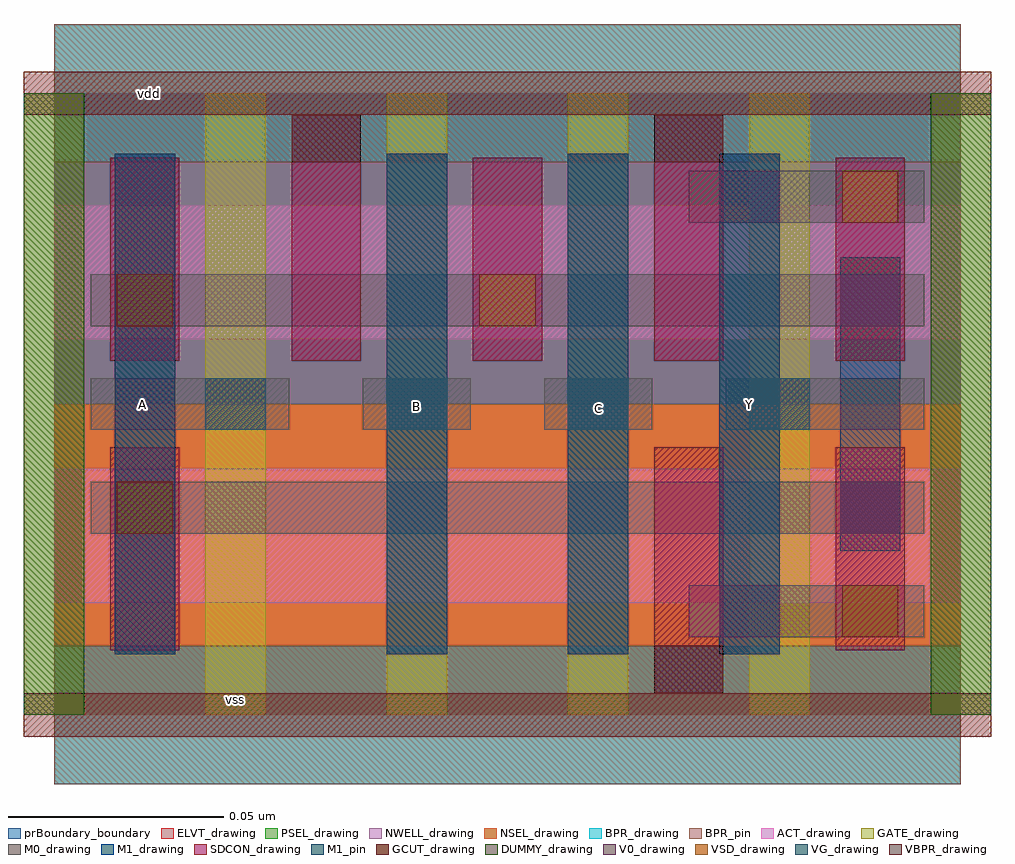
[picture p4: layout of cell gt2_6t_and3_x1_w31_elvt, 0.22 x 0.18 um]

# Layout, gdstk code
import gdstk
lib = gdstk.Library(unit=1e-6, precision=5e-10)
def R(c, l, rs):  # rectangles x0, y0, x1, y1
    for r in rs: c.add(gdstk.rectangle(r[:2], r[2:], *l))
def A(c, l, x, y, w, h, nx, ny, dx, dy):  # array of equal rectangles
    R(c, l, [(x+i*dx, y+j*dy, x+i*dx+w, y+j*dy+h) for i in range(nx) for j in range(ny)])
NWELL_drawing = (1, 0)
ACT_drawing = (2, 0)
GATE_drawing = (3, 0)
DUMMY_drawing = (4, 0)
GCUT_drawing = (5, 0)
NSEL_drawing = (6, 0)
PSEL_drawing = (7, 0)
BPR_drawing = (8, 0)
BPR_pin = (8, 251)
VBPR_drawing = (9, 0)
SDCON_drawing = (10, 0)
VSD_drawing = (11, 0)
VG_drawing = (12, 0)
M0_drawing = (20, 0)
V0_drawing = (22, 0)
M1_drawing = (25, 0)
M1_pin = (25, 251)
ELVT_drawing = (94, 0)
prBoundary_boundary = (235, 250)

gt2_6t_and3_x1_w31_elvt = lib.new_cell('gt2_6t_and3_x1_w31_elvt')
R(gt2_6t_and3_x1_w31_elvt, NWELL_drawing, [(0,0.072,0.21,0.144)])
R(gt2_6t_and3_x1_w31_elvt, ACT_drawing, [(0,0.026,0.21,0.057), (0,0.087,0.21,0.118)])
A(gt2_6t_and3_x1_w31_elvt, GATE_drawing, -0.007, 0, 0.014, 0.144, 6, 1, 0.042, 0)
R(gt2_6t_and3_x1_w31_elvt, DUMMY_drawing, [(-0.007,0,0.007,0.144), (0.203,0,0.217,0.144)])
R(gt2_6t_and3_x1_w31_elvt, GCUT_drawing, [(-0.007,-0.005,0.217,0.005), (-0.007,0.139,0.217,0.149)])
R(gt2_6t_and3_x1_w31_elvt, NSEL_drawing, [(0,0,0.21,0.072)])
R(gt2_6t_and3_x1_w31_elvt, PSEL_drawing, [(0,0.072,0.21,0.144)])
R(gt2_6t_and3_x1_w31_elvt, BPR_drawing, [(0,-0.016,0.21,0.016), (0,0.128,0.21,0.16)])
R(gt2_6t_and3_x1_w31_elvt, BPR_pin, [(0,-0.016,0.21,0.016), (0,0.128,0.21,0.16)])
R(gt2_6t_and3_x1_w31_elvt, VBPR_drawing, [(0.139,0.005,0.155,0.016), (0.055,0.128,0.071,0.139), (0.139,0.128,0.155,0.139)])
A(gt2_6t_and3_x1_w31_elvt, SDCON_drawing, 0.013, 0.082, 0.016, 0.047, 3, 1, 0.084, 0)
R(gt2_6t_and3_x1_w31_elvt, SDCON_drawing, [(0.139,0.005,0.155,0.062), (0.013,0.015,0.029,0.062), (0.181,0.015,0.197,0.062), (0.055,0.082,0.071,0.139), (0.139,0.082,0.155,0.139)])
R(gt2_6t_and3_x1_w31_elvt, VSD_drawing, [(0.1825,0.018,0.1955,0.03), (0.0145,0.042,0.0275,0.054), (0.0145,0.09,0.0275,0.102), (0.0985,0.09,0.1115,0.102), (0.1825,0.114,0.1955,0.126)])
A(gt2_6t_and3_x1_w31_elvt, VG_drawing, 0.035, 0.066, 0.014, 0.012, 4, 1, 0.042, 0)
R(gt2_6t_and3_x1_w31_elvt, M0_drawing, [(0.147,0.018,0.2015,0.03), (0.0085,0.042,0.2015,0.054), (0.0085,0.066,0.0545,0.078), (0.0715,0.066,0.0965,0.078), (0.1135,0.066,0.1385,0.078), (0.1555,0.066,0.2015,0.078), (0.0085,0.09,0.2015,0.102), (0.147,0.114,0.2015,0.126)])
A(gt2_6t_and3_x1_w31_elvt, V0_drawing, 0.182, 0.042, 0.014, 0.012, 1, 3, 0, 0.024)
R(gt2_6t_and3_x1_w31_elvt, V0_drawing, [(0.154,0.018,0.168,0.03), (0.014,0.066,0.028,0.078), (0.077,0.066,0.091,0.078), (0.119,0.066,0.133,0.078), (0.154,0.114,0.168,0.126)])
R(gt2_6t_and3_x1_w31_elvt, M1_drawing, [(0.014,0.014,0.028,0.13), (0.077,0.014,0.091,0.13), (0.119,0.014,0.133,0.13), (0.154,0.014,0.168,0.13), (0.182,0.038,0.196,0.106)])
R(gt2_6t_and3_x1_w31_elvt, M1_pin, [(0.014,0.014,0.028,0.13), (0.077,0.014,0.091,0.13), (0.119,0.014,0.133,0.13), (0.154,0.014,0.168,0.13)])
R(gt2_6t_and3_x1_w31_elvt, ELVT_drawing, [(0,0,0.21,0.144)])
R(gt2_6t_and3_x1_w31_elvt, prBoundary_boundary, [(0,0,0.21,0.144)])
gt2_6t_and3_x1_w31_elvt.add(gdstk.Label('vdd', (0.022,0.144), layer=8, texttype=251))
gt2_6t_and3_x1_w31_elvt.add(gdstk.Label('vss', (0.042,0.0035), layer=8, texttype=251))
gt2_6t_and3_x1_w31_elvt.add(gdstk.Label('A', (0.0205,0.072), layer=25, texttype=251))
gt2_6t_and3_x1_w31_elvt.add(gdstk.Label('B', (0.084,0.0715), layer=25, texttype=251))
gt2_6t_and3_x1_w31_elvt.add(gdstk.Label('Y', (0.161,0.072), layer=25, texttype=251))
gt2_6t_and3_x1_w31_elvt.add(gdstk.Label('C', (0.126,0.071), layer=25, texttype=251))

lib.write_gds('gt2_6t_and3_x1_w31_elvt.gds')
